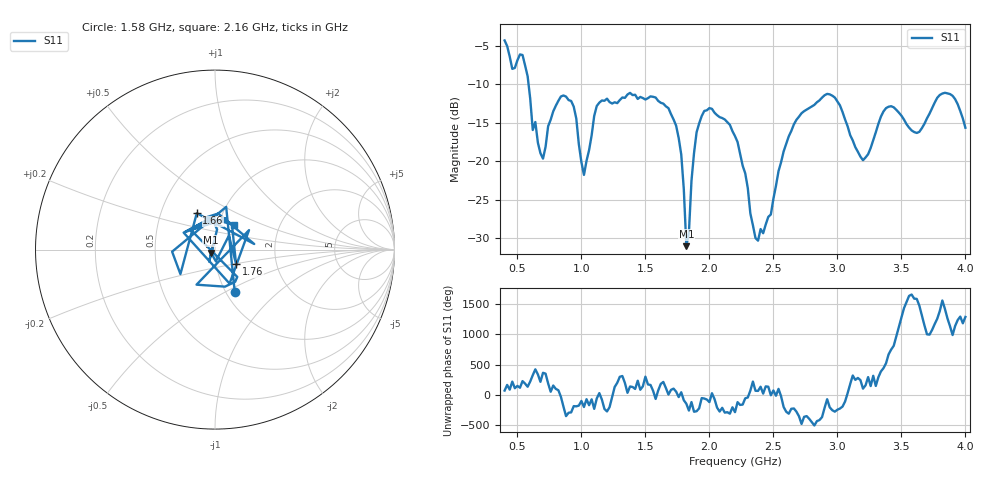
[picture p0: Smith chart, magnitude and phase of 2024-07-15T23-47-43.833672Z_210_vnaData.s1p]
!Created with skrf (http://scikit-rf.org).
# Hz S RI R 50.0
!freq ReS11 ImS11
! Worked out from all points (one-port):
!   181 points, 400 MHz to 4 GHz, reference 50 ohm
!   lowest |S11| = -31.1 dB at 1.82 GHz (marker M1), VSWR 1.06, Z = 47.7 - j1.55 ohm
!   |S11| at or under -10 dB: 587 MHz to end of sweep
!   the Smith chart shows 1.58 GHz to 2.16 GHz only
!   S11 on the Smith chart (normalised r, x): 1.58 GHz: 1.10, -0.55; 1.66 GHz: 0.76, +0.32; 1.76 GHz: 1.25, -0.20; 2.16 GHz: 1.19, +0.33
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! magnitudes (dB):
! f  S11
! 400 MHz  -4.3
! 460 MHz  -8.0
! 540 MHz  -6.2
! 620 MHz  -16.0
! 700 MHz  -19.7
! 860 MHz  -11.5
! 940 MHz  -12.9
! 1.02 GHz  -21.8
! 1.12 GHz  -12.8
! 1.3 GHz  -12.1
! 1.58 GHz  -11.7
! 1.66 GHz  -12.9
! 1.76 GHz  -17.0
! 1.8 GHz  -23.7
! 1.82 GHz  -31.1
! 1.88 GHz  -18.9
! 1.94 GHz  -14.1
! 2.16 GHz  -15.3
! 2.2 GHz  -16.8
! 2.38 GHz  -30.3
! 2.66 GHz  -15.2
! 2.94 GHz  -11.3
! 3.1 GHz  -16.6
! 3.2 GHz  -19.9
! 3.38 GHz  -13.1
! 3.56 GHz  -15.7
! 3.84 GHz  -11.1
! 4 GHz  -15.7
